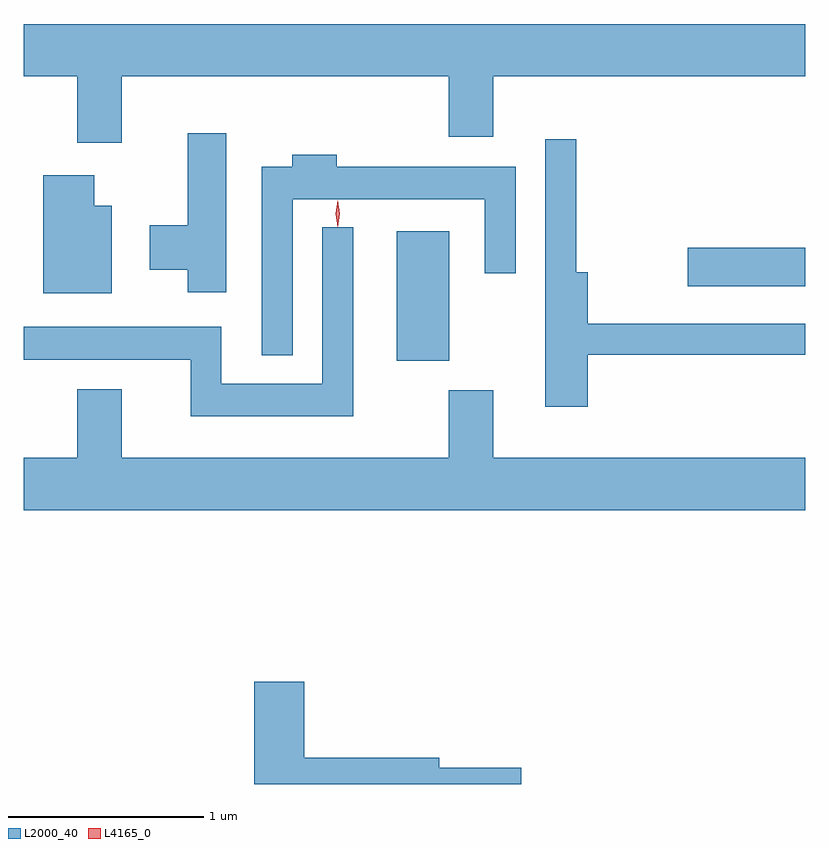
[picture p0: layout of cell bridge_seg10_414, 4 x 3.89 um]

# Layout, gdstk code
import gdstk
lib = gdstk.Library(unit=1e-6, precision=1e-09)
def R(c, l, rs):  # rectangles x0, y0, x1, y1
    for r in rs: c.add(gdstk.rectangle(r[:2], r[2:], *l))
def P(c, l, *ps):  # polygons
    for p in ps: c.add(gdstk.Polygon(p, *l))
L2000_40 = (2000, 40)
L4165_0 = (4165, 0)

bridge_seg10_414 = lib.new_cell('bridge_seg10_414')
R(bridge_seg10_414, L2000_40, [(1381.866,2092.481,1382.134,2093.144), (1383.356,2092.861,1383.957,2093.059)])
P(bridge_seg10_414, L2000_40, [(1380.459,2093.936),(1382.131,2093.936),(1382.131,2093.626),(1382.359,2093.626),(1382.359,2093.936),(1383.957,2093.936),(1383.957,2094.204),(1379.957,2094.204),(1379.957,2093.936),(1380.231,2093.936),(1380.231,2093.596),(1380.459,2093.596)],
  [(1380.994,2093.644),(1380.796,2093.644),(1380.796,2093.174),(1380.601,2093.174),(1380.601,2092.946),(1380.796,2092.946),(1380.796,2092.831),(1380.994,2092.831)],
  [(1382.844,2092.511),(1383.957,2092.511),(1383.957,2092.669),(1382.844,2092.669),(1382.844,2092.934),(1382.784,2092.934),(1382.784,2093.613),(1382.626,2093.613),(1382.626,2092.246),(1382.844,2092.246)],
  [(1381.334,2093.306),(1382.316,2093.306),(1382.316,2092.928),(1382.474,2092.928),(1382.474,2093.474),(1381.559,2093.474),(1381.559,2093.534),(1381.331,2093.534),(1381.331,2093.474),(1381.176,2093.474),(1381.176,2092.508),(1381.334,2092.508)],
  [(1380.409,2093.274),(1380.319,2093.274),(1380.319,2093.429),(1380.056,2093.429),(1380.056,2092.826),(1380.409,2092.826)],
  [(1381.644,2093.163),(1381.486,2093.163),(1381.486,2092.364),(1380.969,2092.364),(1380.969,2092.654),(1379.957,2092.654),(1379.957,2092.486),(1380.811,2092.486),(1380.811,2092.196),(1381.644,2092.196)],
  [(1383.957,2091.984),(1382.359,2091.984),(1382.359,2092.329),(1382.131,2092.329),(1382.131,2091.984),(1380.459,2091.984),(1380.459,2092.334),(1380.231,2092.334),(1380.231,2091.984),(1379.957,2091.984),(1379.957,2091.716),(1383.957,2091.716)],
  [(1382.504,2090.399),(1382.084,2090.399),(1382.084,2090.449),(1381.394,2090.449),(1381.394,2090.839),(1381.136,2090.839),(1381.136,2090.315),(1382.504,2090.315)])
P(bridge_seg10_414, L4165_0, [(1381.564,2093.164),(1381.555,2093.233),(1381.564,2093.301),(1381.564,2093.302),(1381.565,2093.301),(1381.575,2093.233),(1381.565,2093.164),(1381.565,2093.164)],
  [(1381.564,2093.167),(1381.555,2093.233),(1381.564,2093.299),(1381.565,2093.299),(1381.565,2093.299),(1381.575,2093.233),(1381.565,2093.167),(1381.565,2093.167)])

lib.write_gds('bridge_seg10_414.gds')
